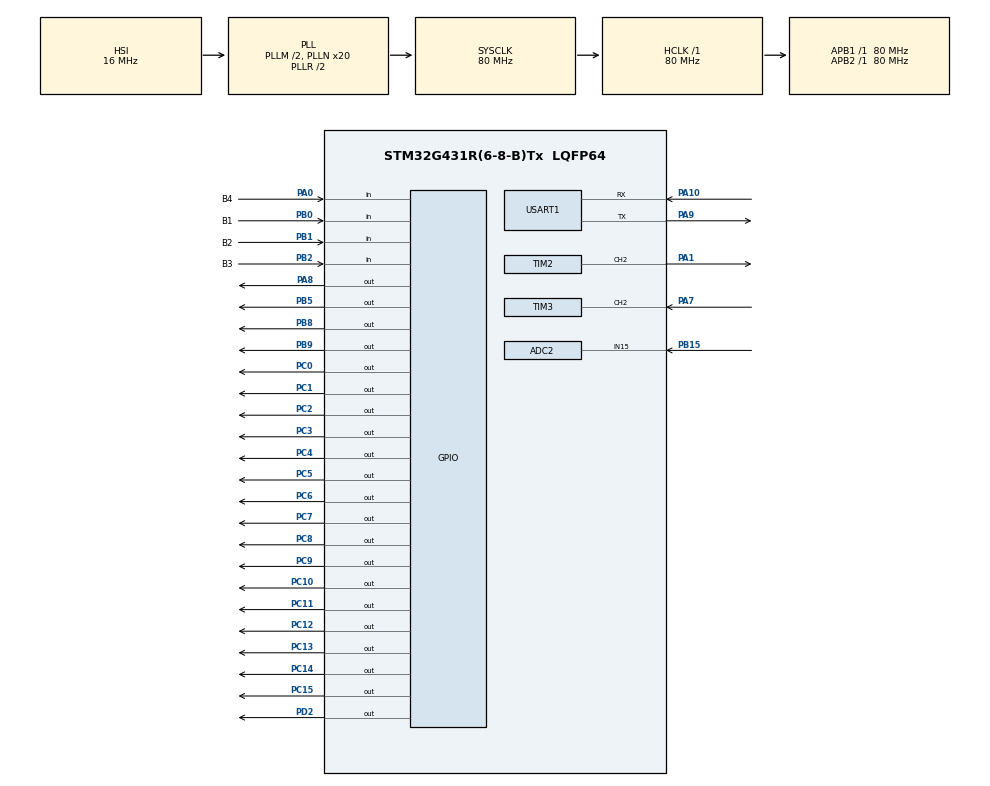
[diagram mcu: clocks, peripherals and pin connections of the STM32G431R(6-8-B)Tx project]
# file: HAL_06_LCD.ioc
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ADC2.Channel-2\#ChannelRegularConversion=ADC_CHANNEL_15
ADC2.ClockPrescaler=ADC_CLOCK_SYNC_PCLK_DIV4
ADC2.NbrOfConversion=1
ADC2.NbrOfConversionFlag=1
ADC2.OffsetNumber-2\#ChannelRegularConversion=ADC_OFFSET_NONE
ADC2.Rank-2\#ChannelRegularConversion=1
ADC2.SamplingTime-2\#ChannelRegularConversion=ADC_SAMPLETIME_2CYCLES_5
Mcu.Family=STM32G4
Mcu.Name=STM32G431R(6-8-B)Tx
Mcu.Package=LQFP64
NVIC.PriorityGroup=NVIC_PRIORITYGROUP_4
NVIC.TIM2_IRQn=true\:0\:0\:false\:false\:true\:true\:true\:true
NVIC.TIM3_IRQn=true\:0\:0\:false\:false\:true\:true\:true\:true
NVIC.TIM4_IRQn=true\:0\:0\:false\:false\:true\:true\:true\:true
NVIC.USART1_IRQn=true\:0\:0\:false\:false\:true\:true\:true\:true
PA0.GPIO_Label=B4
PA0.GPIO_PuPd=GPIO_PULLUP
PA0.Signal=GPIO_Input
PA1.Signal=S_TIM2_CH2
PA10.Mode=Asynchronous
PA10.Signal=USART1_RX
PA13.Mode=Serial_Wire
PA13.Signal=SYS_JTMS-SWDIO
PA14.Mode=Serial_Wire
PA14.Signal=SYS_JTCK-SWCLK
PA7.Signal=S_TIM3_CH2
PA8.Signal=GPIO_Output
PA9.Mode=Asynchronous
PA9.Signal=USART1_TX
PB0.GPIO_Label=B1
PB0.GPIO_PuPd=GPIO_PULLUP
PB0.Signal=GPIO_Input
PB1.GPIO_Label=B2
PB1.GPIO_PuPd=GPIO_PULLUP
PB1.Signal=GPIO_Input
PB15.Mode=IN15-Single-Ended
PB15.Signal=ADC2_IN15
PB2.GPIO_Label=B3
PB2.GPIO_PuPd=GPIO_PULLUP
PB2.Signal=GPIO_Input
PB5.Signal=GPIO_Output
PB8-BOOT0.Signal=GPIO_Output
PB9.Signal=GPIO_Output
PC0.Signal=GPIO_Output
PC1.Signal=GPIO_Output
PC10.Signal=GPIO_Output
PC11.Signal=GPIO_Output
PC12.Signal=GPIO_Output
PC13.Signal=GPIO_Output
PC14-OSC32_IN.Signal=GPIO_Output
PC15-OSC32_OUT.Signal=GPIO_Output
PC2.Signal=GPIO_Output
PC3.Signal=GPIO_Output
PC4.Signal=GPIO_Output
PC5.Signal=GPIO_Output
PC6.Signal=GPIO_Output
PC7.Signal=GPIO_Output
PC8.Signal=GPIO_Output
PC9.Signal=GPIO_Output
PD2.GPIO_PuPd=GPIO_PULLDOWN
PD2.GPIO_Speed=GPIO_SPEED_FREQ_VERY_HIGH
PD2.PinState=GPIO_PIN_RESET
PD2.Signal=GPIO_Output
PF0-OSC_IN.Mode=HSE-External-Oscillator
PF0-OSC_IN.Signal=RCC_OSC_IN
PF1-OSC_OUT.Mode=HSE-External-Oscillator
PF1-OSC_OUT.Signal=RCC_OSC_OUT
ProjectManager.HeapSize=0x200
ProjectManager.StackSize=0x400
ProjectManager.TargetToolchain=MDK-ARM V5.27
RCC.ADC12Freq_Value=80000000
RCC.AHBFreq_Value=80000000
RCC.APB1Freq_Value=80000000
RCC.APB1TimFreq_Value=80000000
RCC.APB2Freq_Value=80000000
RCC.APB2TimFreq_Value=80000000
RCC.CortexFreq_Value=80000000
RCC.EXTERNAL_CLOCK_VALUE=12288000
RCC.HCLKFreq_Value=80000000
RCC.HSE_VALUE=24000000
RCC.HSI48_VALUE=48000000
RCC.HSI_VALUE=16000000
RCC.LSE_VALUE=32768
RCC.PLLM=RCC_PLLM_DIV2
RCC.PLLN=20
RCC.SYSCLKFreq_VALUE=80000000
RCC.SYSCLKSource=RCC_SYSCLKSOURCE_PLLCLK
RCC.USBFreq_Value=80000000
RCC.VCOOutputFreq_Value=160000000
SH.S_TIM2_CH2.0=TIM2_CH2,PWM Generation2 CH2
SH.S_TIM3_CH2.0=TIM3_CH2,Input_Capture2_from_TI2
SH.S_TIM3_CH2.1=TIM3_CH2,TriggerSource_TI2FP2
TIM2.AutoReloadPreload=TIM_AUTORELOAD_PRELOAD_ENABLE
TIM2.Channel-PWM\ Generation2\ CH2=TIM_CHANNEL_2
TIM2.OC2Preload_PWM=ENABLE
TIM2.OCMode_PWM-PWM\ Generation2\ CH2=TIM_OCMODE_PWM1
TIM2.PeriodNoDither=249
TIM2.Prescaler=79
TIM2.PulseNoDither_2=99
TIM3.Channel-Input_Capture1_from_TI2_63=TIM_CHANNEL_1
TIM3.Channel-Input_Capture2_from_TI2=TIM_CHANNEL_2
TIM3.ICPolarity_CH1=TIM_INPUTCHANNELPOLARITY_RISING
TIM3.ICPolarity_CH2=TIM_INPUTCHANNELPOLARITY_FALLING
TIM3.Prescaler=7
TIM3.TIM_MasterSlaveMode=TIM_MASTERSLAVEMODE_DISABLE
TIM4.PeriodNoDither=9999
TIM4.Prescaler=79
USART1.VirtualMode-Asynchronous=VM_ASYNC
VP_SYS_VS_DBSignals.Mode=DisableDeadBatterySignals
VP_TIM2_VS_ClockSourceINT.Mode=Internal
VP_TIM3_VS_ClockSourceINT.Mode=Internal
VP_TIM3_VS_ControllerModeReset.Mode=Reset Mode
VP_TIM3_VS_indirect_ch2.Mode=Input_Capture1_from_TI2_63
VP_TIM4_VS_ClockSourceINT.Mode=Internal
board=custom

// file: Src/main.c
/* USER CODE BEGIN Header */
/**
  ******************************************************************************
  * @file           : main.c
  * @brief          : Main program body
  ******************************************************************************
  * @attention
  *
  * <h2><center>&copy; Copyright (c) 2021 STMicroelectronics.
  * All rights reserved.</center></h2>
  *
  * This software component is licensed by ST under BSD 3-Clause license,
  * the "License"; You may not use this file except in compliance with the
  * License. You may obtain a copy of the License at:
  *                        opensource.org/licenses/BSD-3-Clause
  *
  ******************************************************************************
  */
/* USER CODE END Header */
#include "main.h"
#include "adc.h"
#include "tim.h"
#include "usart.h"
#include "gpio.h"

/* USER CODE BEGIN Includes */
#include "stdio.h"
#include "string.h"
#include "stdlib.h"

#include "led.h"
#include "key.h"
#include "lcd.h"
/* USER CODE END Includes */

void SystemClock_Config(void);
/* USER CODE BEGIN PFP */
uint16_t read_r37(void);
void key_proc(uint8_t key);
void duty_proc(void);
/* USER CODE END PFP */

/* USER CODE BEGIN 0 */
#define DATA 1
#define PARA 2
#define RECD 3

uint8_t show_flag = DATA;

#define H_MODE 1
#define L_MODE 2
#define TO_L 1
#define TO_H 2
uint8_t cur_mode = L_MODE;
uint8_t mode_switch_dir=0;
uint8_t had_switch=0;
uint32_t mode_cnt=0;

uint8_t S5_flag=0;

uint8_t R_flag=0,K_flag=0;
uint8_t R=1,K=1;
uint8_t N=0;

uint8_t long_down_flag = 0;
uint8_t duty_lock_flag=0;

uint8_t led2_status = 0;

uint32_t k4_down_cnt=0;

float duty=0;
float V,pi=3.14,f,Max_H=0,Max_L=0;
extern uint16_t ccr1,ccr2;
/* USER CODE END 0 */

int main(void)
{

  /* MCU Configuration--------------------------------------------------------*/

  /* Reset of all peripherals, Initializes the Flash interface and the Systick. */
  HAL_Init();

  /* Configure the system clock */
  SystemClock_Config();

  /* Initialize all configured peripherals */
  MX_GPIO_Init();
  MX_USART1_UART_Init();
  MX_TIM2_Init();
  MX_TIM3_Init();
  MX_ADC2_Init();
  MX_TIM4_Init();
  /* USER CODE BEGIN 2 */

  LCD_Init();

  HAL_UART_Receive_IT(&huart1,&ch,1);

  HAL_TIM_PWM_Start(&htim2,TIM_CHANNEL_2);
  HAL_TIM_Base_Start_IT(&htim4);
  HAL_TIM_IC_Start_IT(&htim3,TIM_CHANNEL_1);
  HAL_TIM_IC_Start_IT(&htim3,TIM_CHANNEL_2);

  /* USER CODE END 2 */

  /* Infinite loop */
  /* USER CODE BEGIN WHILE */

	LCD_Clear(Black);
	LCD_SetBackColor(Black);
	LCD_SetTextColor(White);

	printf("READY\r\n");

	uint8_t key;
	uint16_t tim2_ccr=htim2.Instance->CCR2;
	uint16_t tim2_arr=htim2.Instance->ARR + 2;

	float F,D;

	char lcd_data[40];
//	led_col(D1,LED_ON);
//	led_col(D2,LED_OFF);
//	led_col(D3,LED_OFF);
//	led_col(D4,LED_OFF);
//	led_col(D5,LED_OFF);
//	led_col(D6,LED_OFF);
//	led_col(D7,LED_OFF);
//	led_col(D8,LED_OFF);

	GPIOC->BSRR = 0xFFFFFFFF;

	HAL_Delay(500);

	GPIOC->BSRR = 0x00;
	while (1)
	{

		key = key_scan();
		key_proc(key);
		duty_proc();

		if(show_flag == DATA)
		{
			sprintf(lcd_data,"        DATA     ");
			LCD_DisplayStringLine(Line4,(uint8_t*)lcd_data);

			if(cur_mode == H_MODE)
			{
				sprintf(lcd_data,"     M = H     ");
			}else
			{
				sprintf(lcd_data,"     M = L     ");
			}
			LCD_DisplayStringLine(Line5,(uint8_t*)lcd_data);

			sprintf(lcd_data,"     P = %d%%     ",(int)(duty*100));
			LCD_DisplayStringLine(Line6,(uint8_t*)lcd_data);

			sprintf(lcd_data,"     V = %.1f     ",V);
			LCD_DisplayStringLine(Line7,(uint8_t*)lcd_data);

		}else if(show_flag == PARA)
		{

			sprintf(lcd_data,"        PARA     ");
			LCD_DisplayStringLine(Line4,(uint8_t*)lcd_data);

			sprintf(lcd_data,"     R = %d     ",R);
			LCD_DisplayStringLine(Line5,(uint8_t*)lcd_data);

			sprintf(lcd_data,"     K = %d     ",K);
			LCD_DisplayStringLine(Line6,(uint8_t*)lcd_data);

		}else
		{
			sprintf(lcd_data,"        RECD     ");
			LCD_DisplayStringLine(Line4,(uint8_t*)lcd_data);

			sprintf(lcd_data,"     N = %d     ",N);
			LCD_DisplayStringLine(Line5,(uint8_t*)lcd_data);

			sprintf(lcd_data,"     MH = %.1f     ",Max_H);
			LCD_DisplayStringLine(Line6,(uint8_t*)lcd_data);

			sprintf(lcd_data,"     ML = %.1f     ",Max_L);
			LCD_DisplayStringLine(Line7,(uint8_t*)lcd_data);

		}

    /* USER CODE END WHILE */

	}
}

void SystemClock_Config(void)
{
  RCC_OscInitTypeDef RCC_OscInitStruct = {0};
  RCC_ClkInitTypeDef RCC_ClkInitStruct = {0};

  /** Configure the main internal regulator output voltage
  */
  HAL_PWREx_ControlVoltageScaling(PWR_REGULATOR_VOLTAGE_SCALE1);

  /** Initializes the RCC Oscillators according to the specified parameters
  * in the RCC_OscInitTypeDef structure.
  */
  RCC_OscInitStruct.OscillatorType = RCC_OSCILLATORTYPE_HSI;
  RCC_OscInitStruct.HSIState = RCC_HSI_ON;
  RCC_OscInitStruct.HSICalibrationValue = RCC_HSICALIBRATION_DEFAULT;
  RCC_OscInitStruct.PLL.PLLState = RCC_PLL_ON;
  RCC_OscInitStruct.PLL.PLLSource = RCC_PLLSOURCE_HSI;
  RCC_OscInitStruct.PLL.PLLM = RCC_PLLM_DIV2;
  RCC_OscInitStruct.PLL.PLLN = 20;
  RCC_OscInitStruct.PLL.PLLP = RCC_PLLP_DIV2;
  RCC_OscInitStruct.PLL.PLLQ = RCC_PLLQ_DIV2;
  RCC_OscInitStruct.PLL.PLLR = RCC_PLLR_DIV2;
  if (HAL_RCC_OscConfig(&RCC_OscInitStruct) != HAL_OK)
  {
    Error_Handler();
  }

  /** Initializes the CPU, AHB and APB buses clocks
  */
  RCC_ClkInitStruct.ClockType = RCC_CLOCKTYPE_HCLK|RCC_CLOCKTYPE_SYSCLK
                              |RCC_CLOCKTYPE_PCLK1|RCC_CLOCKTYPE_PCLK2;
  RCC_ClkInitStruct.SYSCLKSource = RCC_SYSCLKSOURCE_PLLCLK;
  RCC_ClkInitStruct.AHBCLKDivider = RCC_SYSCLK_DIV1;
  RCC_ClkInitStruct.APB1CLKDivider = RCC_HCLK_DIV1;
  RCC_ClkInitStruct.APB2CLKDivider = RCC_HCLK_DIV1;

  if (HAL_RCC_ClockConfig(&RCC_ClkInitStruct, FLASH_LATENCY_2) != HAL_OK)
  {
    Error_Handler();
  }
}

/* USER CODE BEGIN 4 */
uint16_t read_r37(void)
{
	HAL_ADC_Start(&hadc2);
	HAL_ADC_PollForConversion(&hadc2,50);
	return HAL_ADC_GetValue(&hadc2);
}

void key_proc(uint8_t key)
{
	if(key)
	{
		switch(key)
		{

			case K1:
				{
					if(show_flag == DATA)
					{
						show_flag = PARA;
						R_flag = 1;
						K_flag = 0;

					}else if(show_flag == PARA)
					{

						show_flag = RECD;

						//从参数界面转数据界面时要使所有参数生效
					}else
					{
						show_flag = DATA;

					}
					if(show_flag == DATA)
					{
						led_col(D1,LED_ON);
					}else
					{
						led_col(D1,LED_OFF);
					}
					LCD_Clear(Black);
				}break;
			case K2:
				{

					if(show_flag == DATA)
					{
						//高低频模式选择界面
						if(cur_mode == H_MODE)
						{
							cur_mode = L_MODE;
							mode_switch_dir = TO_L;//高变低
						}else
						{
							mode_switch_dir = TO_H;//低变高
							cur_mode = H_MODE;
						}

					}else if(show_flag == PARA)
					{
						//参数选择界面
						if(R_flag)
						{
							R_flag = 0;
							K_flag = 1;
						}else
						{
							R_flag = 1;
							K_flag = 0;
						}

					}
				}break;
			case K3:
				{
					if(show_flag == PARA)
					{
						//参数加键
						if(R_flag)
						{
							R = ((R)%11)+1;
						}else
						{
							K = ((K)%11)+1;
						}
					}

				}break;
			case K4:
				{
					if(show_flag == PARA)
					{
						//参数减键
						if(R_flag)
						{
							R-=1;
							if(!R)
								R=10;
						}else
						{
							K-=1;
							if(!K)
								K=10;
						}
					}else if(show_flag == DATA)
					{
						//长按B4 2s锁定占空比
						if(long_down_flag)
						{
							duty_lock_flag = 1;
						}else
						{
							duty_lock_flag = 0;
						}

					}
				}break;

		}

		if(duty_lock_flag)
		{
			led_col(D3,LED_ON);
		}else
		{
			led_col(D3,LED_OFF);
		}
	}

}

void duty_proc(void)
{
	float vR37;
	if(!duty_lock_flag)
	{
		vR37 = read_r37()*3.3/4096;

		if(vR37 <= 1)
		{
			duty = 0.1;

		}
		else if(vR37 >= 3)
		{
			duty = 0.85;
		}
		else
		{
			duty = 0.375*(vR37 - 1.0) + 0.1;
		}
		TIM2->CCR2 = (uint16_t)(duty * TIM2->ARR);
		//printf("Vr37:%.1f, CCR2:%d\r\n",vR37,TIM2->CCR2);
	}
}

uint32_t cnt=0;
void HAL_TIM_PeriodElapsedCallback(TIM_HandleTypeDef *htim)
{
	if(htim == &htim4)
	{
		//定时器溢出中断，中断时间是10ms
		cnt++;
		k4_down_cnt+=1;
		if(had_switch)
		{
			if(mode_switch_dir == 0)
			{
				mode_cnt++;
			}

			if((mode_cnt>=200))
			{
				N+=1;
				if(cur_mode == H_MODE)
				{
					if(Max_H < V)
						Max_H = V;

				}else
				{
					if(Max_L < V)
						Max_L = V;

				}
				mode_cnt = 0;
				had_switch =0;
			}

		}

	}
	if((cnt%10) == 0)
	{
		//100ms
		if(mode_switch_dir)
		{
			if(mode_switch_dir == TO_L)
			{

				//TIM2->PSC = (TIM2->PSC>=79) ? 79 : (TIM2->PSC++);
				if(TIM2->PSC<=79)
				{
					TIM2->PSC+=1;
				}else
				{
					TIM2->PSC=79;
				}

			}else if(mode_switch_dir == TO_H)
			{
//				TIM2->PSC = (TIM2->PSC<=39) ? 39 : (TIM2->PSC--);
				if(TIM2->PSC>=39)
				{
					TIM2->PSC-=1;
				}else
				{
					TIM2->PSC=39;
				}
			}

			if((TIM2->PSC == 39) || TIM2->PSC == 79)
			{
				led_col(D2,LED_OFF);
				mode_switch_dir = 0;
				mode_cnt=0;
				had_switch = 1;
			}
			//printf("PSC:%d, dir:%d,had:%d\r\n",TIM2->PSC,mode_switch_dir,had_switch);
		}

		if(mode_switch_dir)
		{
			led2_status = !led2_status;
			if(led2_status)
			{
				led_col(D2,LED_ON);
			}else
			{
				led_col(D2,LED_OFF);
			}
		}
	}

}

uint16_t ccr1,ccr2;
void HAL_TIM_IC_CaptureCallback(TIM_HandleTypeDef *htim)
{
	if(htim == &htim3)
	{

		ccr1 = HAL_TIM_ReadCapturedValue(htim,TIM_CHANNEL_1);
		ccr2 = HAL_TIM_ReadCapturedValue(htim,TIM_CHANNEL_2);

		f = 10000000*1.0/ccr2;
		V = (f*2*pi*R) / (100 * K);

	}
}
/* USER CODE END 4 */

void Error_Handler(void)
{
}
